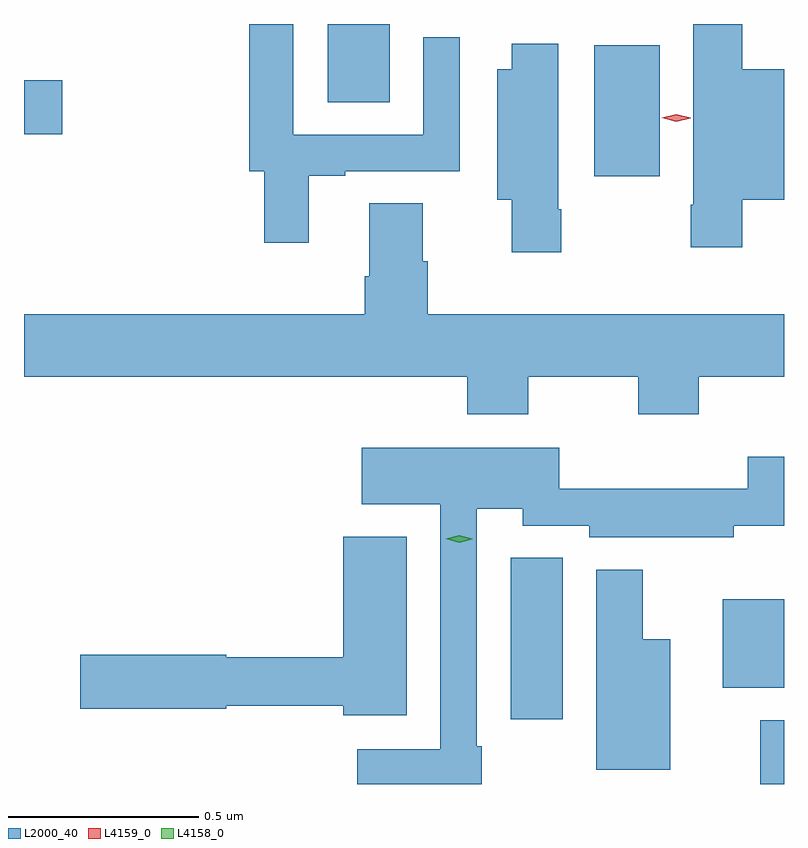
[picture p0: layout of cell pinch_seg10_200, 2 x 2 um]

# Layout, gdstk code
import gdstk
lib = gdstk.Library(unit=1e-6, precision=1e-09)
def R(c, l, rs):  # rectangles x0, y0, x1, y1
    for r in rs: c.add(gdstk.rectangle(r[:2], r[2:], *l))
def P(c, l, *ps):  # polygons
    for p in ps: c.add(gdstk.Polygon(p, *l))
L2000_40 = (2000, 40)
L4158_0 = (4158, 0)
L4159_0 = (4159, 0)

pinch_seg10_200 = lib.new_cell('pinch_seg10_200')
R(pinch_seg10_200, L2000_40, [(732.115,1252.624,732.178,1252.792), (731.459,1252.794,731.596,1253.219), (732.017,1252.877,732.178,1253.11), (731.678,1254.224,731.851,1254.568), (730.178,1254.334,730.279,1254.476), (730.977,1254.418,731.14,1254.624)])
P(pinch_seg10_200, L2000_40, [(730.927,1254.225),(731.023,1254.225),(731.023,1254.237),(731.325,1254.237),(731.325,1254.589),(731.229,1254.589),(731.229,1254.333),(730.887,1254.333),(730.887,1254.624),(730.771,1254.624),(730.771,1254.237),(730.81,1254.237),(730.81,1254.048),(730.927,1254.048)],
  [(732.068,1254.161),(732.178,1254.161),(732.178,1254.505),(732.068,1254.505),(732.068,1254.624),(731.939,1254.624),(731.939,1254.148),(731.932,1254.148),(731.932,1254.036),(732.068,1254.036)],
  [(731.592,1254.136),(731.584,1254.136),(731.584,1254.572),(731.462,1254.572),(731.462,1254.505),(731.423,1254.505),(731.423,1254.161),(731.462,1254.161),(731.462,1254.024),(731.592,1254.024)],
  [(731.505,1253.696),(731.794,1253.696),(731.794,1253.597),(731.954,1253.597),(731.954,1253.696),(732.178,1253.696),(732.178,1253.86),(731.24,1253.86),(731.24,1254),(731.227,1254),(731.227,1254.152),(731.087,1254.152),(731.087,1253.96),(731.075,1253.96),(731.075,1253.86),(730.178,1253.86),(730.178,1253.696),(731.345,1253.696),(731.345,1253.597),(731.505,1253.597)],
  [(731.383,1252.723),(731.37,1252.723),(731.37,1253.348),(731.49,1253.348),(731.49,1253.304),(731.666,1253.304),(731.666,1253.273),(732.046,1253.273),(732.046,1253.303),(732.178,1253.303),(732.178,1253.485),(732.083,1253.485),(732.083,1253.401),(731.586,1253.401),(731.586,1253.509),(731.067,1253.509),(731.067,1253.36),(731.274,1253.36),(731.274,1252.716),(731.055,1252.716),(731.055,1252.624),(731.383,1252.624)],
  [(731.185,1253.275),(731.018,1253.275),(731.018,1252.958),(730.71,1252.958),(730.71,1252.964),(730.326,1252.964),(730.326,1252.822),(730.71,1252.822),(730.71,1252.83),(731.018,1252.83),(731.018,1252.805),(731.185,1252.805)],
  [(731.878,1253.005),(731.806,1253.005),(731.806,1253.188),(731.684,1253.188),(731.684,1252.661),(731.878,1252.661)])
P(pinch_seg10_200, L4158_0, [(731.323,1253.259),(731.288,1253.269),(731.288,1253.27),(731.288,1253.27),(731.323,1253.279),(731.358,1253.269),(731.358,1253.268),(731.358,1253.268)])
P(pinch_seg10_200, L4159_0, [(731.894,1254.367),(731.856,1254.377),(731.855,1254.377),(731.856,1254.377),(731.894,1254.387),(731.932,1254.377),(731.932,1254.376),(731.932,1254.376)])

lib.write_gds('pinch_seg10_200.gds')
